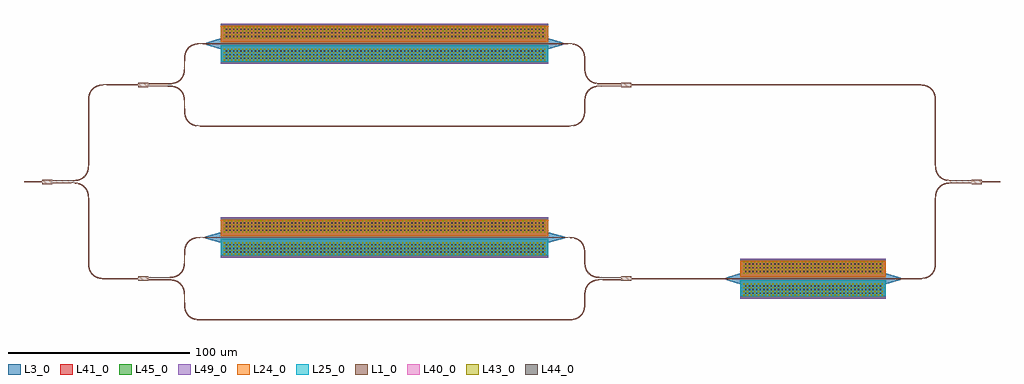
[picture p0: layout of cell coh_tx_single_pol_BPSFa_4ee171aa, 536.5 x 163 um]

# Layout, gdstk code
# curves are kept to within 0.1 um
from math import pi, radians
import gdstk
lib = gdstk.Library(unit=1e-6, precision=1e-09)
def R(c, l, rs):  # rectangles x0, y0, x1, y1
    for r in rs: c.add(gdstk.rectangle(r[:2], r[2:], *l))
def P(c, l, *ps):  # polygons
    for p in ps: c.add(gdstk.Polygon(p, *l))
L1_0 = (1, 0)
L3_0 = (3, 0)
L24_0 = (24, 0)
L25_0 = (25, 0)
L40_0 = (40, 0)
L41_0 = (41, 0)
L43_0 = (43, 0)
L44_0 = (44, 0)
L45_0 = (45, 0)
L49_0 = (49, 0)

mmi1x2_wnone_wt1_lt10_l_ = lib.new_cell('mmi1x2_WNone_WT1_LT10_L_4e0f7121')
P(mmi1x2_wnone_wt1_lt10_l_, L1_0, [(0,-1.25),(0,-0.5),(-10,-0.25),(-10,0.25),(0,0.5),(0,1.25),(5.5,1.25),(5.5,1.125),(15.5,0.875),(15.5,0.375),(5.5,0.125),(5.5,-0.125),(15.5,-0.375),(15.5,-0.875),(5.5,-1.125),(5.5,-1.25)])

bend_euler_rnone_a90_p0_ = lib.new_cell('bend_euler_RNone_A90_P0_d7c3a5a9')
P(bend_euler_rnone_a90_p0_, L1_0, [(0,-0.25),(0,0.25),(2.881,0.353),(3.952,0.52),(4.99,0.806),(6.431,1.505),(7.575,2.425),(8.495,3.569),(9.194,5.01),(9.48,6.048),(9.647,7.119),(9.75,10),(10.25,10),(10.158,7.205),(9.797,5.254),(9.457,4.312),(9.066,3.545),(8.5,2.715),(7.928,2.072),(7.285,1.5),(6.455,0.934),(5.688,0.543),(4.746,0.203),(2.795,-0.158)])

straight_l2_n2_csstrip_w = lib.new_cell('straight_L2_N2_CSstrip_WNone')
R(straight_l2_n2_csstrip_w, L1_0, [(0,-0.25,2,0.25)])

straight_l180_n2_cspin_w = lib.new_cell('straight_L180_N2_CSpin_WNone')
R(straight_l180_n2_cspin_w, L1_0, [(0,-0.25,180,0.25)])
R(straight_l180_n2_cspin_w, L3_0, [(0,-10,180,10)])
R(straight_l180_n2_cspin_w, L24_0, [(0,0.8,180,9.8)])
R(straight_l180_n2_cspin_w, L25_0, [(0,-9.8,180,-0.8)])

taper_strip_to_ridge_l1_ = lib.new_cell('taper_strip_to_ridge_L1_3a86af41')
R(taper_strip_to_ridge_l1_, L1_0, [(0,-0.25,10,0.25)])
P(taper_strip_to_ridge_l1_, L3_0, [(10,-3),(0,-0.075),(0,0.075),(10,3)])

compass_s180_10_lslab90_ = lib.new_cell('compass_S180_10_LSLAB90_05ffcaa3')
R(compass_s180_10_lslab90_, L3_0, [(-90,-5,90,5)])

compass_s180_10_lm1_ptn_ = lib.new_cell('compass_S180_10_LM1_PTN_a9660620')
R(compass_s180_10_lm1_ptn_, L41_0, [(-90,-5,90,5)])

compass_s180_10_lm2_ptn_ = lib.new_cell('compass_S180_10_LM2_PTN_655a0ab1')
R(compass_s180_10_lm2_ptn_, L45_0, [(-90,-5,90,5)])

compass_s180_10_lmtop_p_ = lib.new_cell('compass_S180_10_LMTOP_P_11bbb343')
R(compass_s180_10_lmtop_p_, L49_0, [(-90,-5,90,5)])

via_s0p7_0p7_snone_gnon_ = lib.new_cell('via_S0p7_0p7_SNone_GNon_372ed4f2')
R(via_s0p7_0p7_snone_gnon_, L40_0, [(-0.35,-0.35,0.35,0.35)])

c_via_s0p7_0p7_snone_gnon_ = lib.new_cell('via_S0p7_0p7_SNone_GNon_c3f5c6aa')
R(c_via_s0p7_0p7_snone_gnon_, L44_0, [(-0.35,-0.35,0.35,0.35)])

c_via_s0p7_0p7_snone_gnon__ = lib.new_cell('via_S0p7_0p7_SNone_GNon_e14245b6')
R(c_via_s0p7_0p7_snone_gnon__, L43_0, [(-0.35,-0.35,0.35,0.35)])

via_stack_s180_10_lslab_ = lib.new_cell('via_stack_S180_10_LSLAB_6f7f59c7')
via_stack_s180_10_lslab_.add(gdstk.Reference(compass_s180_10_lslab90_, (0,0)))
via_stack_s180_10_lslab_.add(gdstk.Reference(compass_s180_10_lm1_ptn_, (0,0)))
via_stack_s180_10_lslab_.add(gdstk.Reference(compass_s180_10_lm2_ptn_, (0,0)))
via_stack_s180_10_lslab_.add(gdstk.Reference(compass_s180_10_lmtop_p_, (0,0)))
r = gdstk.Reference(via_s0p7_0p7_snone_gnon_, (-88,-3)); r.repetition = gdstk.Repetition(89, 4, v1=(2,0), v2=(0,2)); via_stack_s180_10_lslab_.add(r)
r = gdstk.Reference(c_via_s0p7_0p7_snone_gnon_, (-87,-2)); r.repetition = gdstk.Repetition(88, 3, v1=(2,0), v2=(0,2)); via_stack_s180_10_lslab_.add(r)
r = gdstk.Reference(c_via_s0p7_0p7_snone_gnon__, (-88,-3)); r.repetition = gdstk.Repetition(89, 4, v1=(2,0), v2=(0,2)); via_stack_s180_10_lslab_.add(r)

straight_pin_l200_cspin_ = lib.new_cell('straight_pin_L200_CSpin_2780c303')
straight_pin_l200_cspin_.add(gdstk.Reference(straight_l180_n2_cspin_w, (0,0)))
straight_pin_l200_cspin_.add(gdstk.Reference(taper_strip_to_ridge_l1_, (-10,0)))
straight_pin_l200_cspin_.add(gdstk.Reference(taper_strip_to_ridge_l1_, (190,0), rotation=pi))
straight_pin_l200_cspin_.add(gdstk.Reference(via_stack_s180_10_lslab_, (90,6)))
straight_pin_l200_cspin_.add(gdstk.Reference(via_stack_s180_10_lslab_, (90,-6)))

straight_l200_n2_csstrip = lib.new_cell('straight_L200_N2_CSstrip_WNone')
R(straight_l200_n2_csstrip, L1_0, [(0,-0.25,200,0.25)])

mzi_dl0_ly2_lx200_bbend_ = lib.new_cell('mzi_DL0_LY2_LX200_Bbend_31a2f4c6')
mzi_dl0_ly2_lx200_bbend_.add(gdstk.Reference(mmi1x2_wnone_wt1_lt10_l_, (0,0)))
mzi_dl0_ly2_lx200_bbend_.add(gdstk.Reference(bend_euler_rnone_a90_p0_, (15.5,-0.625), x_reflection=True))
mzi_dl0_ly2_lx200_bbend_.add(gdstk.Reference(bend_euler_rnone_a90_p0_, (25.5,-12.625), rotation=3*pi/2))
mzi_dl0_ly2_lx200_bbend_.add(gdstk.Reference(bend_euler_rnone_a90_p0_, (15.5,0.625)))
mzi_dl0_ly2_lx200_bbend_.add(gdstk.Reference(bend_euler_rnone_a90_p0_, (35.5,22.625), rotation=pi))
mzi_dl0_ly2_lx200_bbend_.add(gdstk.Reference(bend_euler_rnone_a90_p0_, (245.5,12.625), rotation=pi/2))
mzi_dl0_ly2_lx200_bbend_.add(gdstk.Reference(bend_euler_rnone_a90_p0_, (245.5,10.625), rotation=3*pi/2))
mzi_dl0_ly2_lx200_bbend_.add(gdstk.Reference(bend_euler_rnone_a90_p0_, (235.5,-22.625)))
mzi_dl0_ly2_lx200_bbend_.add(gdstk.Reference(bend_euler_rnone_a90_p0_, (255.5,-0.625), rotation=pi))
mzi_dl0_ly2_lx200_bbend_.add(gdstk.Reference(straight_l2_n2_csstrip_w, (25.5,10.625), rotation=pi/2))
mzi_dl0_ly2_lx200_bbend_.add(gdstk.Reference(straight_l2_n2_csstrip_w, (25.5,-10.625), rotation=3*pi/2))
mzi_dl0_ly2_lx200_bbend_.add(gdstk.Reference(straight_pin_l200_cspin_, (45.5,22.625)))
mzi_dl0_ly2_lx200_bbend_.add(gdstk.Reference(straight_l200_n2_csstrip, (35.5,-22.625)))
mzi_dl0_ly2_lx200_bbend_.add(gdstk.Reference(mmi1x2_wnone_wt1_lt10_l_, (271,0), rotation=pi, x_reflection=True))
mzi_dl0_ly2_lx200_bbend_.add(gdstk.Reference(straight_l2_n2_csstrip_w, (245.5,10.625), rotation=pi/2))
mzi_dl0_ly2_lx200_bbend_.add(gdstk.Reference(straight_l2_n2_csstrip_w, (245.5,-12.625), rotation=pi/2))

straight_l100_n2_csstrip = lib.new_cell('straight_L100_N2_CSstrip_WNone')
R(straight_l100_n2_csstrip, L1_0, [(0,-0.25,100,0.25)])

straight_l80_n2_cspin_wn = lib.new_cell('straight_L80_N2_CSpin_WNone')
R(straight_l80_n2_cspin_wn, L1_0, [(0,-0.25,80,0.25)])
R(straight_l80_n2_cspin_wn, L3_0, [(0,-10,80,10)])
R(straight_l80_n2_cspin_wn, L24_0, [(0,0.8,80,9.8)])
R(straight_l80_n2_cspin_wn, L25_0, [(0,-9.8,80,-0.8)])

compass_s80_10_lslab90__ = lib.new_cell('compass_S80_10_LSLAB90__ea0d4deb')
R(compass_s80_10_lslab90__, L3_0, [(-40,-5,40,5)])

compass_s80_10_lm1_ptno_ = lib.new_cell('compass_S80_10_LM1_PTNo_78d97958')
R(compass_s80_10_lm1_ptno_, L41_0, [(-40,-5,40,5)])

compass_s80_10_lm2_ptno_ = lib.new_cell('compass_S80_10_LM2_PTNo_9a32eeff')
R(compass_s80_10_lm2_ptno_, L45_0, [(-40,-5,40,5)])

compass_s80_10_lmtop_pt_ = lib.new_cell('compass_S80_10_LMTOP_PT_9780fa3f')
R(compass_s80_10_lmtop_pt_, L49_0, [(-40,-5,40,5)])

via_stack_s80_10_lslab9_ = lib.new_cell('via_stack_S80_10_LSLAB9_82a378f1')
via_stack_s80_10_lslab9_.add(gdstk.Reference(compass_s80_10_lslab90__, (0,0)))
via_stack_s80_10_lslab9_.add(gdstk.Reference(compass_s80_10_lm1_ptno_, (0,0)))
via_stack_s80_10_lslab9_.add(gdstk.Reference(compass_s80_10_lm2_ptno_, (0,0)))
via_stack_s80_10_lslab9_.add(gdstk.Reference(compass_s80_10_lmtop_pt_, (0,0)))
r = gdstk.Reference(via_s0p7_0p7_snone_gnon_, (-38,-3)); r.repetition = gdstk.Repetition(39, 4, v1=(2,0), v2=(0,2)); via_stack_s80_10_lslab9_.add(r)
r = gdstk.Reference(c_via_s0p7_0p7_snone_gnon_, (-37,-2)); r.repetition = gdstk.Repetition(38, 3, v1=(2,0), v2=(0,2)); via_stack_s80_10_lslab9_.add(r)
r = gdstk.Reference(c_via_s0p7_0p7_snone_gnon__, (-38,-3)); r.repetition = gdstk.Repetition(39, 4, v1=(2,0), v2=(0,2)); via_stack_s80_10_lslab9_.add(r)

straight_pin_l100_cspin_ = lib.new_cell('straight_pin_L100_CSpin_f2ba7e88')
straight_pin_l100_cspin_.add(gdstk.Reference(straight_l80_n2_cspin_wn, (0,0)))
straight_pin_l100_cspin_.add(gdstk.Reference(taper_strip_to_ridge_l1_, (-10,0)))
straight_pin_l100_cspin_.add(gdstk.Reference(taper_strip_to_ridge_l1_, (90,0), rotation=pi))
straight_pin_l100_cspin_.add(gdstk.Reference(via_stack_s80_10_lslab9_, (40,6)))
straight_pin_l100_cspin_.add(gdstk.Reference(via_stack_s80_10_lslab9_, (40,-6)))

straight_l40_n2_csstrip_ = lib.new_cell('straight_L40_N2_CSstrip_WNone')
R(straight_l40_n2_csstrip_, L1_0, [(0,-0.25,40,0.25)])

bend_euler_r10_a90_p0p5_ = lib.new_cell('bend_euler_R10_A90_P0p5_2f1f5c6d')
P(bend_euler_r10_a90_p0p5_, L1_0, [(0,-0.25),(0,0.25),(2.881,0.353),(3.952,0.52),(4.99,0.806),(6.431,1.505),(7.575,2.425),(8.495,3.569),(9.194,5.01),(9.48,6.048),(9.647,7.119),(9.75,10),(10.25,10),(10.158,7.205),(9.797,5.254),(9.457,4.312),(9.066,3.545),(8.5,2.715),(7.928,2.072),(7.285,1.5),(6.455,0.934),(5.688,0.543),(4.746,0.203),(2.795,-0.158)])

straight_l32p625_n2_css_ = lib.new_cell('straight_L32p625_N2_CSs_fe6a8d7e')
R(straight_l32p625_n2_css_, L1_0, [(0,-0.25,32.625,0.25)])

straight_l7p25_n2_csstri = lib.new_cell('straight_L7p25_N2_CSstrip_WNone')
R(straight_l7p25_n2_csstri, L1_0, [(0,-0.25,7.25,0.25)])

coh_tx_single_pol_bpsfa_ = lib.new_cell('coh_tx_single_pol_BPSFa_4ee171aa')
coh_tx_single_pol_bpsfa_.add(gdstk.Reference(mzi_dl0_ly2_lx200_bbend_, (0,0)))
coh_tx_single_pol_bpsfa_.add(gdstk.Reference(mzi_dl0_ly2_lx200_bbend_, (0,-106.5)))
coh_tx_single_pol_bpsfa_.add(gdstk.Reference(straight_l100_n2_csstrip, (321,0)))
coh_tx_single_pol_bpsfa_.add(gdstk.Reference(straight_pin_l100_cspin_, (331,-106.5)))
coh_tx_single_pol_bpsfa_.add(gdstk.Reference(straight_l40_n2_csstrip_, (281,0)))
coh_tx_single_pol_bpsfa_.add(gdstk.Reference(straight_l40_n2_csstrip_, (281,-106.5)))
coh_tx_single_pol_bpsfa_.add(gdstk.Reference(mmi1x2_wnone_wt1_lt10_l_, (-52.75,-53.25)))
coh_tx_single_pol_bpsfa_.add(gdstk.Reference(mmi1x2_wnone_wt1_lt10_l_, (463.75,-53.25), rotation=pi, x_reflection=True))
coh_tx_single_pol_bpsfa_.add(gdstk.Reference(bend_euler_r10_a90_p0p5_, (-27.25,-42.625), rotation=3*pi/2, x_reflection=True))
coh_tx_single_pol_bpsfa_.add(gdstk.Reference(bend_euler_r10_a90_p0p5_, (-17.25,0), rotation=pi))
coh_tx_single_pol_bpsfa_.add(gdstk.Reference(straight_l32p625_n2_css_, (-27.25,-10), rotation=3*pi/2))
coh_tx_single_pol_bpsfa_.add(gdstk.Reference(straight_l7p25_n2_csstri, (-17.25,0)))
coh_tx_single_pol_bpsfa_.add(gdstk.Reference(bend_euler_r10_a90_p0p5_, (-27.25,-63.875), rotation=pi/2))
coh_tx_single_pol_bpsfa_.add(gdstk.Reference(bend_euler_r10_a90_p0p5_, (-17.25,-106.5), rotation=pi, x_reflection=True))
coh_tx_single_pol_bpsfa_.add(gdstk.Reference(straight_l32p625_n2_css_, (-27.25,-96.5), rotation=pi/2))
coh_tx_single_pol_bpsfa_.add(gdstk.Reference(straight_l7p25_n2_csstri, (-17.25,-106.5)))
coh_tx_single_pol_bpsfa_.add(gdstk.Reference(bend_euler_r10_a90_p0p5_, (438.25,-42.625), rotation=3*pi/2))
coh_tx_single_pol_bpsfa_.add(gdstk.Reference(bend_euler_r10_a90_p0p5_, (428.25,0), x_reflection=True))
coh_tx_single_pol_bpsfa_.add(gdstk.Reference(straight_l32p625_n2_css_, (438.25,-10), rotation=3*pi/2))
coh_tx_single_pol_bpsfa_.add(gdstk.Reference(straight_l7p25_n2_csstri, (428.25,0), rotation=pi))
coh_tx_single_pol_bpsfa_.add(gdstk.Reference(bend_euler_r10_a90_p0p5_, (438.25,-63.875), rotation=pi/2, x_reflection=True))
coh_tx_single_pol_bpsfa_.add(gdstk.Reference(bend_euler_r10_a90_p0p5_, (428.25,-106.5)))
coh_tx_single_pol_bpsfa_.add(gdstk.Reference(straight_l32p625_n2_css_, (438.25,-96.5), rotation=pi/2))
coh_tx_single_pol_bpsfa_.add(gdstk.Reference(straight_l7p25_n2_csstri, (428.25,-106.5), rotation=pi))

lib.write_gds('coh_tx_single_pol_BPSFa_4ee171aa.gds')
